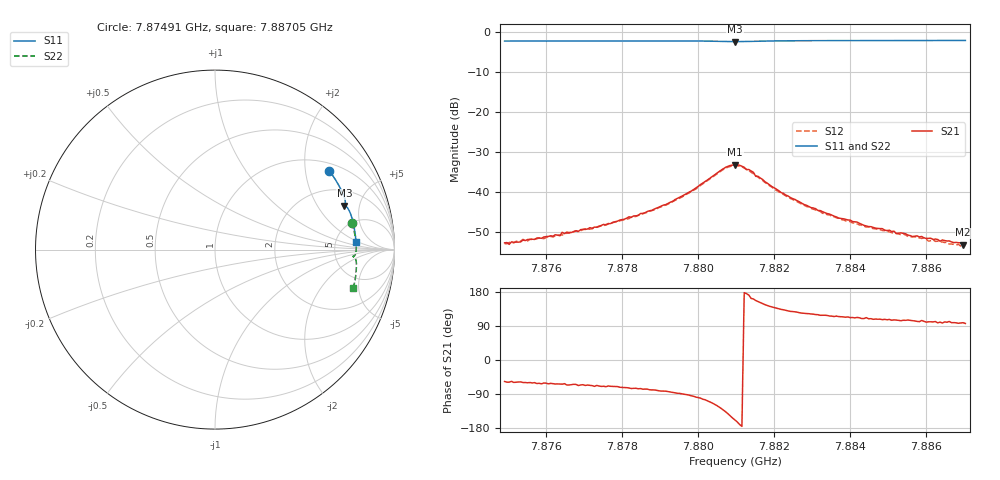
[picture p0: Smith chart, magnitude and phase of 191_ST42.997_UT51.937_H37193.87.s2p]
#  HZ  S  DB  R  50.00
! Rohde & Schwarz Vector Network Analyzer
! Rohde-Schwarz,ZNB20-2Port,1311601062101988,3.16
! Created: UTC 1/12/2023, 6:43:34 PM
! freq[Hz]  db:S11  ang:S11  db:S21  ang:S21  db:S12  ang:S12  db:S22  ang:S22
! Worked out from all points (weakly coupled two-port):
!   201 points, 7.87491 GHz to 7.88705 GHz, reference 50 ohm
!   highest |S21| = -33.08 dB at 7.88098 GHz (marker M1); lowest = -53.1 dB at 7.88699 GHz (marker M2)
!   lowest |S11| = -2.4 dB at 7.88098 GHz (marker M3), VSWR 7.38, Z = 153 + j178 ohm
!   |S11| at or under -10 dB: nowhere
!   |S22| runs from -2.3 to -1.9 dB; largest |S21 - S12| = 0.0019
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7.874915e9  -2.24 34.7  -52.58 -56.7  -52.83 -60.9  -2.17 10.9
7.875036e9  -2.23 34.4  -52.97 -58.4  -52.49 -60.9  -2.17 10.5
7.875097e9  -2.23 34.2  -52.33 -56.3  -52.45 -61.5  -2.18 10.4
7.876371e9  -2.21 30.7  -50.82 -63.4  -50.64 -67.3  -2.12 7.3
7.876431e9  -2.21 30.6  -49.96 -63.8  -50.64 -67.3  -2.13 7.2
7.876977e9  -2.20 29.1  -49.21 -65.2  -49.33 -70.0  -2.11 5.9
7.877584e9  -2.19 27.4  -48.13 -70.5  -48.01 -73.0  -2.10 4.5
7.878979e9  -2.19 23.5  -43.67 -81.3  -43.77 -84.5  -2.08 1.2
7.879767e9  -2.20 21.3  -39.94 -92.6  -40.17 -96.5  -2.08 -0.7
7.880677e9  -2.32 18.9  -34.08 -132.3  -34.24 -135.4  -2.22 -2.8
7.88098e9  -2.37 18.7  -33.08 -158.3  -33.32 -162.5  -2.27 -2.9
7.881344e9  -2.31 18.4  -34.28 171.3  -34.55 165.8  -2.21 -2.9
7.881526e9  -2.27 18.1  -35.99 156.9  -35.81 153.9  -2.16 -3.2
7.882193e9  -2.17 16.2  -40.03 133.6  -40.12 129.8  -2.05 -4.7
7.883043e9  -2.14 13.8  -43.89 121.0  -44.19 117.3  -2.01 -6.8
7.88371e9  -2.12 11.9  -46.41 114.6  -46.47 111.6  -1.99 -8.4
7.885044e9  -2.10 8.4  -49.42 107.0  -49.87 102.1  -1.96 -11.3
7.885226e9  -2.10 7.9  -50.26 105.4  -50.23 101.8  -1.96 -11.7
7.885954e9  -2.09 6.0  -51.33 102.1  -51.36 97.9  -1.95 -13.3
7.886075e9  -2.09 5.7  -51.45 100.7  -52.16 98.8  -1.95 -13.6
7.886985e9  -2.08 3.3  -53.07 98.4  -53.21 94.4  -1.94 -15.5
7.887046e9  -2.08 3.2  -52.88 96.4  -53.42 93.5  -1.94 -15.7
